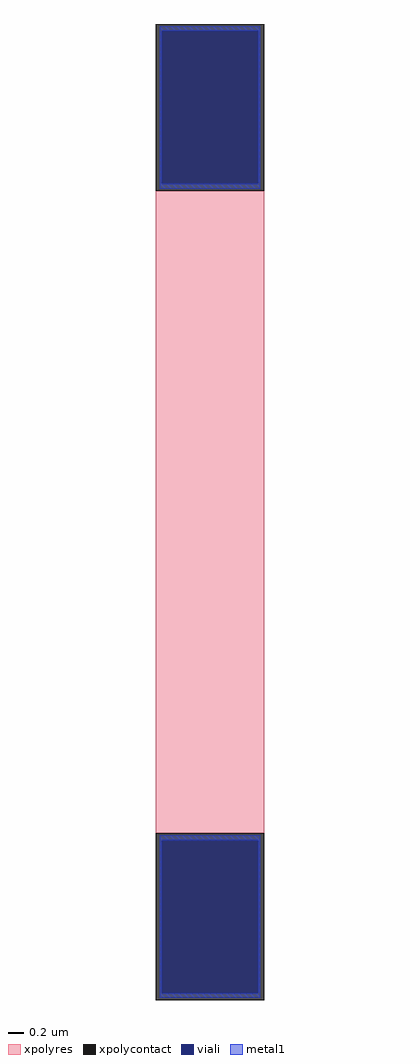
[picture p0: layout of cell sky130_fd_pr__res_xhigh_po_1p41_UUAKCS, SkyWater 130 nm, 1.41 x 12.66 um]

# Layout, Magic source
magic
tech sky130A
magscale 1 2
<< xpolycontact >>
rect -141 834 141 1266
rect -141 -1266 141 -834
<< xpolyres >>
rect -141 -834 141 834
<< viali >>
rect -125 851 125 1248
rect -125 -1248 125 -851
<< metal1 >>
rect -131 1248 131 1260
rect -131 851 -125 1248
rect 125 851 131 1248
rect -131 839 131 851
rect -131 -851 131 -839
rect -131 -1248 -125 -851
rect 125 -1248 131 -851
rect -131 -1260 131 -1248
<< properties >>
string gencell sky130_fd_pr__res_xhigh_po_1p41
string library sky130
string parameters w 1.410 l 8.498 m 1 nx 1 wmin 1.410 lmin 0.50 rho 2000 val 12.32k dummy 0 dw 0.0 term 188.2 sterm 0.0 caplen 0 wmax 1.410 guard 0 glc 1 grc 1 gtc 1 gbc 1 compatible {sky130_fd_pr__res_xhigh_po_0p35  sky130_fd_pr__res_xhigh_po_0p69 sky130_fd_pr__res_xhigh_po_1p41  sky130_fd_pr__res_xhigh_po_2p85 sky130_fd_pr__res_xhigh_po_5p73} snake 0 full_metal 1 n_guard 0 hv_guard 0 vias 1 viagb 0 viagt 0 viagl 0 viagr 0
<< end >>
